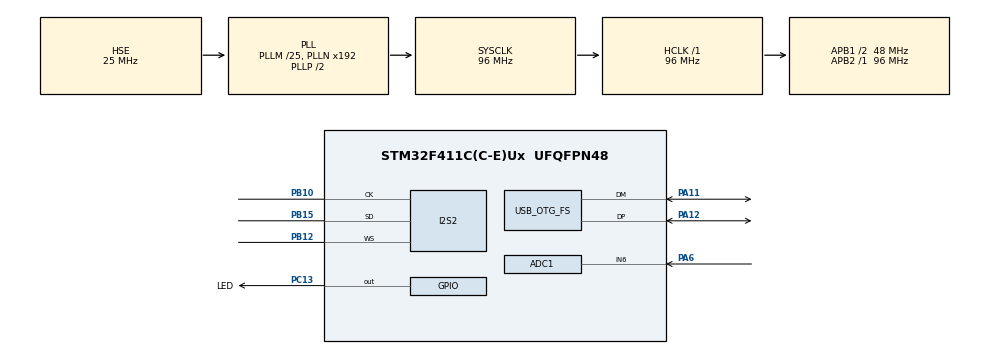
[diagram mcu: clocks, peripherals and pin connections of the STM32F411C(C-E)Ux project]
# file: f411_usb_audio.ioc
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ADC1.Channel-1\#ChannelRegularConversion=ADC_CHANNEL_6
ADC1.NbrOfConversionFlag=1
ADC1.Rank-1\#ChannelRegularConversion=1
ADC1.SamplingTime-1\#ChannelRegularConversion=ADC_SAMPLETIME_3CYCLES
ADC1.master=1
Dma.Request0=SPI2_TX
Dma.SPI2_TX.0.Direction=DMA_MEMORY_TO_PERIPH
Dma.SPI2_TX.0.FIFOMode=DMA_FIFOMODE_ENABLE
Dma.SPI2_TX.0.FIFOThreshold=DMA_FIFO_THRESHOLD_FULL
Dma.SPI2_TX.0.Instance=DMA1_Stream4
Dma.SPI2_TX.0.MemBurst=DMA_MBURST_SINGLE
Dma.SPI2_TX.0.MemDataAlignment=DMA_MDATAALIGN_HALFWORD
Dma.SPI2_TX.0.MemInc=DMA_MINC_ENABLE
Dma.SPI2_TX.0.Mode=DMA_NORMAL
Dma.SPI2_TX.0.PeriphBurst=DMA_PBURST_SINGLE
Dma.SPI2_TX.0.PeriphDataAlignment=DMA_PDATAALIGN_HALFWORD
Dma.SPI2_TX.0.PeriphInc=DMA_PINC_DISABLE
Dma.SPI2_TX.0.Priority=DMA_PRIORITY_HIGH
I2S2.AudioFreq=I2S_AUDIOFREQ_48K
I2S2.CPOL=I2S_CPOL_LOW
I2S2.DataFormat=I2S_DATAFORMAT_16B_EXTENDED
I2S2.ErrorAudioFreq=1.72 %
I2S2.FullDuplexMode=I2S_FULLDUPLEXMODE_DISABLE
I2S2.Instance=SPI$Index
I2S2.Mode=I2S_MODE_MASTER_TX
I2S2.RealAudioFreq=48.828 KHz
I2S2.VirtualMode=I2S_MODE_MASTER
Mcu.Family=STM32F4
Mcu.Name=STM32F411C(C-E)Ux
Mcu.Package=UFQFPN48
NVIC.DMA1_Stream4_IRQn=true\:0\:0\:false\:false\:true\:false\:true\:true
NVIC.OTG_FS_IRQn=true\:0\:0\:false\:false\:true\:true\:true\:true
NVIC.PriorityGroup=NVIC_PRIORITYGROUP_4
NVIC.TIM1_UP_TIM10_IRQn=true\:0\:0\:false\:false\:true\:true\:true\:true
PA11.Mode=Device_Only
PA11.Signal=USB_OTG_FS_DM
PA12.Mode=Device_Only
PA12.Signal=USB_OTG_FS_DP
PA13.Mode=Serial_Wire
PA13.Signal=SYS_JTMS-SWDIO
PA14.Mode=Serial_Wire
PA14.Signal=SYS_JTCK-SWCLK
PA6.Signal=ADCx_IN6
PB10.Mode=Half_Duplex_Master
PB10.Signal=I2S2_CK
PB12.Mode=Half_Duplex_Master
PB12.Signal=I2S2_WS
PB15.Mode=Half_Duplex_Master
PB15.Signal=I2S2_SD
PC13-ANTI_TAMP.GPIO_Label=LED
PC13-ANTI_TAMP.Signal=GPIO_Output
PC14-OSC32_IN.Mode=LSE-External-Oscillator
PC14-OSC32_IN.Signal=RCC_OSC32_IN
PC15-OSC32_OUT.Mode=LSE-External-Oscillator
PC15-OSC32_OUT.Signal=RCC_OSC32_OUT
PH0\ -\ OSC_IN.Mode=HSE-External-Oscillator
PH0\ -\ OSC_IN.Signal=RCC_OSC_IN
PH1\ -\ OSC_OUT.Mode=HSE-External-Oscillator
PH1\ -\ OSC_OUT.Signal=RCC_OSC_OUT
ProjectManager.HeapSize=0x4000
ProjectManager.StackSize=0x2000
ProjectManager.TargetToolchain=STM32CubeIDE
RCC.48MHZClocksFreq_Value=48000000
RCC.AHBFreq_Value=96000000
RCC.APB1CLKDivider=RCC_HCLK_DIV2
RCC.APB1Freq_Value=48000000
RCC.APB1TimFreq_Value=96000000
RCC.APB2Freq_Value=96000000
RCC.APB2TimFreq_Value=96000000
RCC.CortexFreq_Value=96000000
RCC.EnbaleCSS=true
RCC.HCLKFreq_Value=96000000
RCC.HSE_VALUE=25000000
RCC.HSI_VALUE=16000000
RCC.LockedElements=AHBOutput
RCC.PLLI2SR=6
RCC.PLLM=25
RCC.SYSCLKFreq_VALUE=96000000
RCC.SYSCLKSource=RCC_SYSCLKSOURCE_PLLCLK
RCC.VCOOutputFreq_Value=192000000
SH.ADCx_IN6.0=ADC1_IN6,IN6
TIM1.AutoReloadPreload=TIM_AUTORELOAD_PRELOAD_ENABLE
TIM1.Period=499
TIM1.Prescaler=65535
TIM1.TIM_MasterOutputTrigger=TIM_TRGO_UPDATE
USB_DEVICE.CLASS_NAME_FS=AUDIO
USB_DEVICE.PID_AUDIO_FS=52128
USB_DEVICE.PRODUCT_STRING_AUDIO_FS=Neuronix(R) PCM5102 Speacker
USB_DEVICE.USBD_AUDIO_FREQ=48000
USB_DEVICE.USBD_MAX_NUM_INTERFACES=2
USB_DEVICE.VirtualMode=Audio
USB_DEVICE.VirtualModeFS=Audio_FS
USB_OTG_FS.VirtualMode=Device_Only
VP_CRC_VS_CRC.Mode=CRC_Activate
VP_TIM1_VS_ClockSourceINT.Mode=Internal
VP_USB_DEVICE_VS_USB_DEVICE_AUDIO_FS.Mode=AUDIO_FS
board=custom

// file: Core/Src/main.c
/* USER CODE BEGIN Header */
/**
  ******************************************************************************
  * @file           : main.c
  * @brief          : Main program body
  ******************************************************************************
  * @attention
  *
  * Copyright (c) 2022 STMicroelectronics.
  * All rights reserved.
  *
  * This software is licensed under terms that can be found in the LICENSE file
  * in the root directory of this software component.
  * If no LICENSE file comes with this software, it is provided AS-IS.
  *
  ******************************************************************************
  */
/* USER CODE END Header */
#include "main.h"
#include "adc.h"
#include "crc.h"
#include "dma.h"
#include "i2s.h"
#include "tim.h"
#include "usb_device.h"
#include "gpio.h"

/* USER CODE BEGIN PM */
/*| 3.3V | 3.3V on Nucleo board  |
| FLT  | Filter select, grounded: select normal latency, grounded  |
| DMP  | De-emphasis control, grounded(OFF)  |
| SCL  | System clock input, in datasheet SCK pin. System clock is internally generated, it should not be wired anywhere  |
| BCK  | Audio data bit clock input. In I2S terminology is equivalent to serial clock(SCK) I've connected it to `PB10 > I2S2_CK` |
| DIN  | Audio data input. This is Serial Data pin, I've connected it to `PC3 > I2S2_SD` |
| LCK  | Is LRCK in PCM5102 datasheet, which is Audio data word clock input. It is used to switch data for left and right channel. In I2S is I2SX_WS pin, means "Word Select" pin. Connect it to `PB12 > I2S2_WS` |
| FMT  | Audio Format Selection, we select I2S, so this should be grounded  |
| XMT  | In dataseet is XSMT, which is mute control, should be HIGH to unmute.  |
*/
/* USER CODE END PM */

/* USER CODE BEGIN PV */
const uint16_t triangle_wave[]  = {
0x400,0x800,0xc00,0x1000,0x1400,0x1800,0x1c00,0x2000,
0x2400,0x2800,0x2c00,0x3000,0x3400,0x3800,0x3c00,0x4000,
0x4400,0x4800,0x4c00,0x5000,0x5400,0x5800,0x5c00,0x6000,
0x6400,0x6800,0x6c00,0x7000,0x7400,0x7800,0x7c00,0x8000,
0x83ff,0x87ff,0x8bff,0x8fff,0x93ff,0x97ff,0x9bff,0x9fff,
0xa3ff,0xa7ff,0xabff,0xafff,0xb3ff,0xb7ff,0xbbff,0xbfff,
0xc3ff,0xc7ff,0xcbff,0xcfff,0xd3ff,0xd7ff,0xdbff,0xdfff,
0xe3ff,0xe7ff,0xebff,0xefff,0xf3ff,0xf7ff,0xfbff,0xffff,
0xfbff,0xf7ff,0xf3ff,0xefff,0xebff,0xe7ff,0xe3ff,0xdfff,
0xdbff,0xd7ff,0xd3ff,0xcfff,0xcbff,0xc7ff,0xc3ff,0xbfff,
0xbbff,0xb7ff,0xb3ff,0xafff,0xabff,0xa7ff,0xa3ff,0x9fff,
0x9bff,0x97ff,0x93ff,0x8fff,0x8bff,0x87ff,0x83ff,0x8000,
0x7c00,0x7800,0x7400,0x7000,0x6c00,0x6800,0x6400,0x6000,
0x5c00,0x5800,0x5400,0x5000,0x4c00,0x4800,0x4400,0x4000,
0x3c00,0x3800,0x3400,0x3000,0x2c00,0x2800,0x2400,0x2000,
0x1c00,0x1800,0x1400,0x1000,0xc00,0x800,0x400,0x0,
};
__IO int16_t                 UpdatePointer = 0;
/* USER CODE END PV */

void SystemClock_Config(void);

int main(void)
{

  /* MCU Configuration--------------------------------------------------------*/

  /* Reset of all peripherals, Initializes the Flash interface and the Systick. */
  HAL_Init();

  /* Configure the system clock */
  SystemClock_Config();

  /* Initialize all configured peripherals */
  MX_GPIO_Init();
  MX_DMA_Init();
  MX_ADC1_Init();
  MX_I2S2_Init();
  MX_CRC_Init();
  MX_USB_DEVICE_Init();
  MX_TIM1_Init();
  /* USER CODE BEGIN 2 */
  //HAL_TIM_Base_Start_IT(&htim1);

  /* USER CODE END 2 */

  /* Infinite loop */
  /* USER CODE BEGIN WHILE */
  while (1)
  {
	  //HAL_I2S_Transmit(&hi2s2, triangle_wave, sizeof(triangle_wave)/sizeof(triangle_wave[0]), 1000);
    /* USER CODE END WHILE */

  }
}

void SystemClock_Config(void)
{
  RCC_OscInitTypeDef RCC_OscInitStruct = {0};
  RCC_ClkInitTypeDef RCC_ClkInitStruct = {0};

  /** Configure the main internal regulator output voltage
  */
  __HAL_RCC_PWR_CLK_ENABLE();
  __HAL_PWR_VOLTAGESCALING_CONFIG(PWR_REGULATOR_VOLTAGE_SCALE1);

  /** Initializes the RCC Oscillators according to the specified parameters
  * in the RCC_OscInitTypeDef structure.
  */
  RCC_OscInitStruct.OscillatorType = RCC_OSCILLATORTYPE_HSE;
  RCC_OscInitStruct.HSEState = RCC_HSE_ON;
  RCC_OscInitStruct.PLL.PLLState = RCC_PLL_ON;
  RCC_OscInitStruct.PLL.PLLSource = RCC_PLLSOURCE_HSE;
  RCC_OscInitStruct.PLL.PLLM = 25;
  RCC_OscInitStruct.PLL.PLLN = 192;
  RCC_OscInitStruct.PLL.PLLP = RCC_PLLP_DIV2;
  RCC_OscInitStruct.PLL.PLLQ = 4;
  if (HAL_RCC_OscConfig(&RCC_OscInitStruct) != HAL_OK)
  {
    Error_Handler();
  }

  /** Initializes the CPU, AHB and APB buses clocks
  */
  RCC_ClkInitStruct.ClockType = RCC_CLOCKTYPE_HCLK|RCC_CLOCKTYPE_SYSCLK
                              |RCC_CLOCKTYPE_PCLK1|RCC_CLOCKTYPE_PCLK2;
  RCC_ClkInitStruct.SYSCLKSource = RCC_SYSCLKSOURCE_PLLCLK;
  RCC_ClkInitStruct.AHBCLKDivider = RCC_SYSCLK_DIV1;
  RCC_ClkInitStruct.APB1CLKDivider = RCC_HCLK_DIV2;
  RCC_ClkInitStruct.APB2CLKDivider = RCC_HCLK_DIV1;

  if (HAL_RCC_ClockConfig(&RCC_ClkInitStruct, FLASH_LATENCY_3) != HAL_OK)
  {
    Error_Handler();
  }

  /** Enables the Clock Security System
  */
  HAL_RCC_EnableCSS();
}

void Error_Handler(void)
{
  __disable_irq();
  while (1)
  {
  }
}
